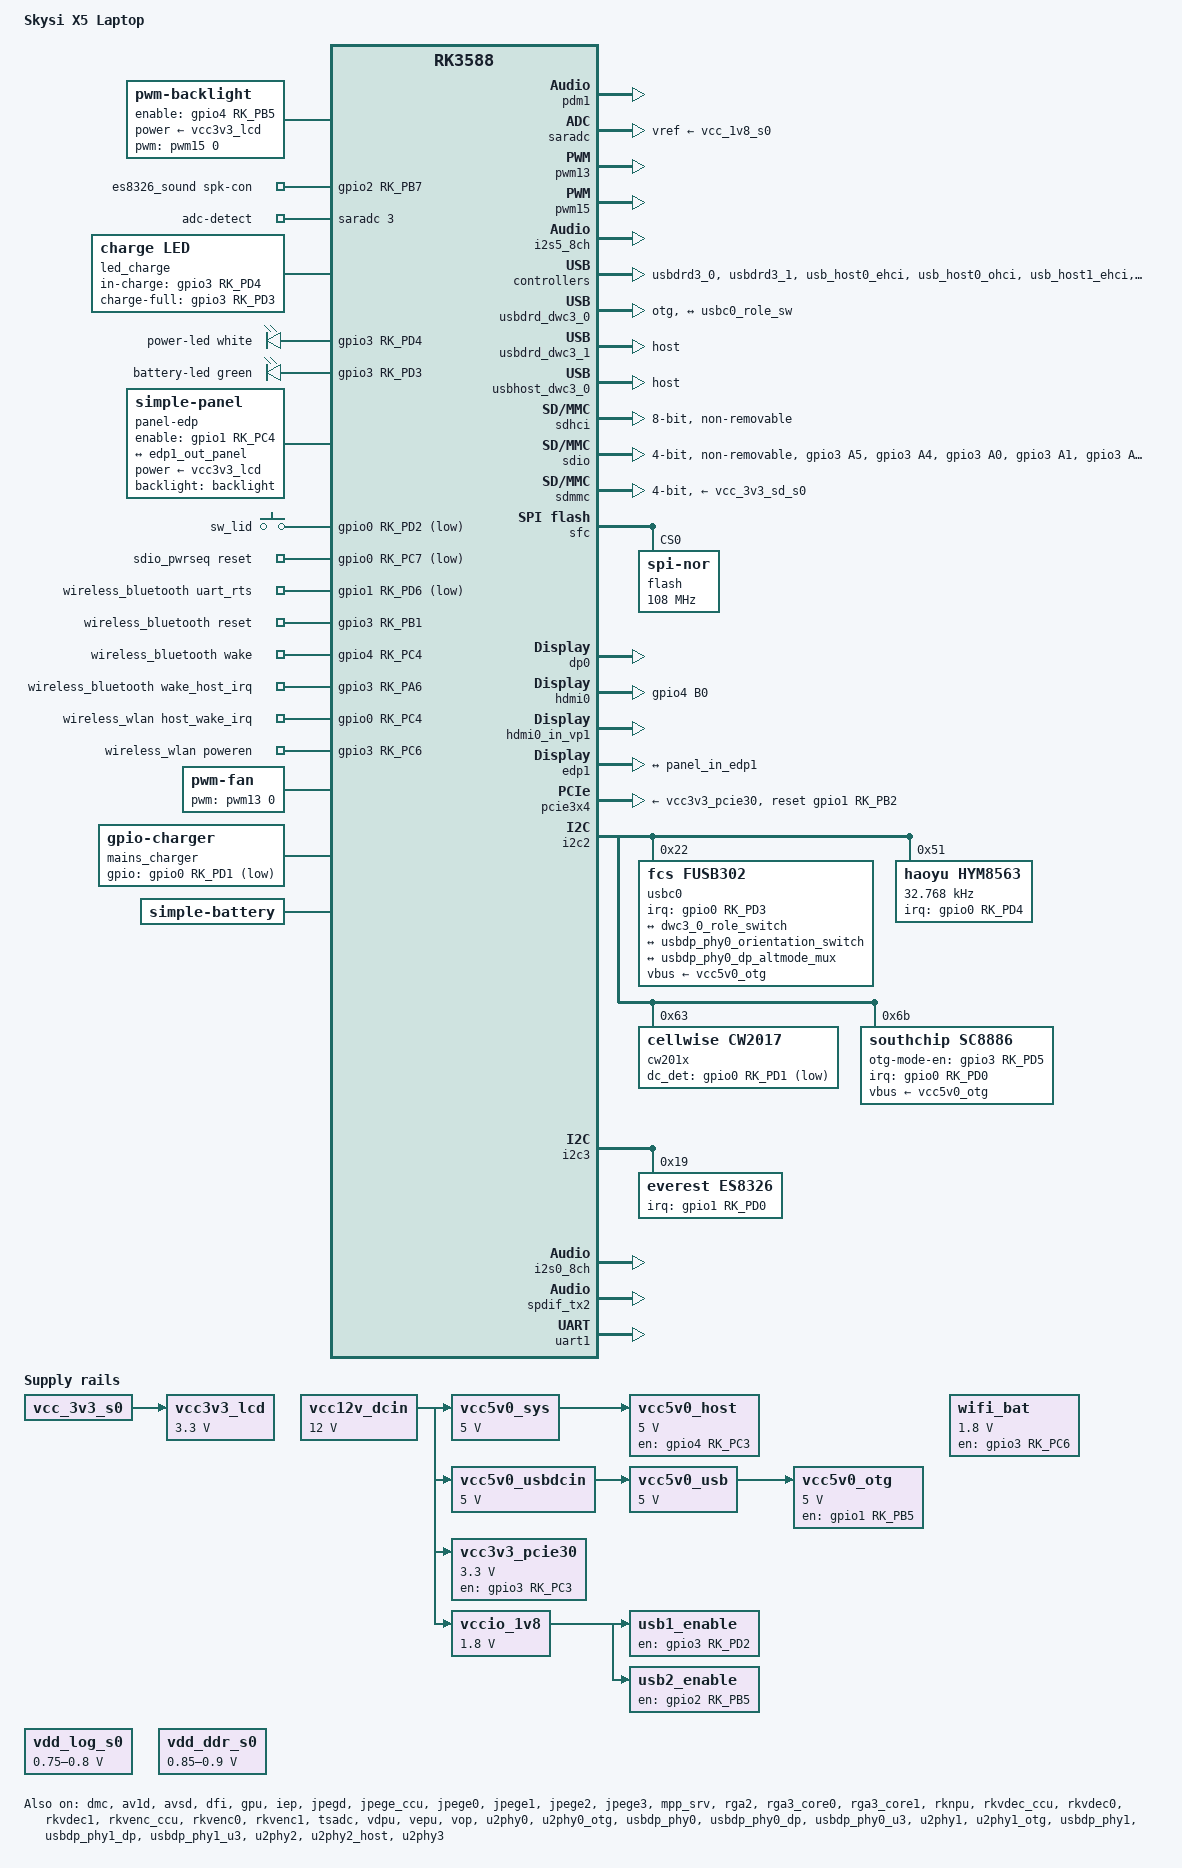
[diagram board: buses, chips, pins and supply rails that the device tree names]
// SPDX-License-Identifier: (GPL-2.0+ OR MIT)
/*
 * Copyright (c) 2021 Rockchip Electronics Co., Ltd.
 * Copyright (c) 2026 bingo1991
 */

/dts-v1/;

#include <dt-bindings/gpio/gpio.h>
#include <dt-bindings/pwm/pwm.h>
#include <dt-bindings/pinctrl/rockchip.h>
#include <dt-bindings/input/gpio-keys.h>
#include <dt-bindings/input/rk-input.h>
#include <dt-bindings/leds/common.h>
#include <dt-bindings/display/drm_mipi_dsi.h>
#include <dt-bindings/display/rockchip_vop.h>
#include <dt-bindings/sensor-dev.h>
#include <dt-bindings/usb/pd.h>
#include "rk3588.dtsi"
#include "rk3588-rk806-dual.dtsi"
#include "rk3588-linux.dtsi"

/ {
	model = "Skysi X5 Laptop";
	compatible = "gedu,yourland-codebook", "kaihong,botbook", "rockchip,rk3588";

	/delete-node/ chosen;

	backlight: backlight {
		compatible = "pwm-backlight";
		brightness-levels = <
			  0  20  20  21  21  22  22  23
			 23  24  24  25  25  26  26  27
			 27  28  28  29  29  30  30  31
			 31  32  32  33  33  34  34  35
			 35  36  36  37  37  38  38  39
			 40  41  42  43  44  45  46  47
			 48  49  50  51  52  53  54  55
			 56  57  58  59  60  61  62  63
			 64  65  66  67  68  69  70  71
			 72  73  74  75  76  77  78  79
			 80  81  82  83  84  85  86  87
			 88  89  90  91  92  93  94  95
			 96  97  98  99 100 101 102 103
			104 105 106 107 108 109 110 111
			112 113 114 115 116 117 118 119
			120 121 122 123 124 125 126 127
			128 129 130 131 132 133 134 135
			136 137 138 139 140 141 142 143
			144 145 146 147 148 149 150 151
			152 153 154 155 156 157 158 159
			160 161 162 163 164 165 166 167
			168 169 170 171 172 173 174 175
			176 177 178 179 180 181 182 183
			184 185 186 187 188 189 190 191
			192 193 194 195 196 197 198 199
			200 201 202 203 204 205 206 207
			208 209 210 211 212 213 214 215
			216 217 218 219 220 221 222 223
			224 225 226 227 228 229 230 231
			232 233 234 235 236 237 238 239
			240 241 242 243 244 245 246 247
			248 249 250 251 252 253 254 255
		>;
		default-brightness-level = <200>;
	};

	dual_mic_array: dual-mic-array {
		status = "okay";
		compatible = "simple-audio-card";
		simple-audio-card,format = "i2s";
		simple-audio-card,name = "rockchip-dmic-array";
		simple-audio-card,mclk-fs = <256>;
		simple-audio-card,dai-link@0 {
			format = "pdm";
			cpu {
				sound-dai = <&pdm1>;
			};
			codec {
				sound-dai = <&dummy_codec>;
			};
		};
	};

	dummy_codec: dummy-codec {
		compatible = "rockchip,dummy-codec";
		#sound-dai-cells = <0>;
		status = "okay";
	};

	es8326_sound: es8326-sound {
		status = "okay";
		compatible = "rockchip,multicodecs-card";
		rockchip,card-name = "rockchip-es8326";
		rockchip,format = "i2s";
		rockchip,mclk-fs = <256>;
		rockchip,cpu = <&i2s0_8ch>;
		rockchip,codec = <&es8326>;
		rockchip,audio-routing =
			"Headphone", "HPOL",
			"Headphone", "HPOR",
			"Headphone", "Headphone Power",
			"Headphone", "Headphone Power",
			"Speaker", "HPOL",
			"Speaker", "HPOR",
			"Speaker", "Speaker Power",
			"Speaker", "Speaker Power",
			"MIC1", "Headset Mic",
			"MIC2", "Main Mic";
		poll-interval = <100>;
		io-channels = <&saradc 3>;
		io-channel-names = "adc-detect";
		keyup-threshold-microvolt = <1800000>;
		pinctrl-names = "default";
		pinctrl-0 = <&spk_con>;
		spk-con-gpio = <&gpio2 RK_PB7 GPIO_ACTIVE_HIGH>;
		play-pause-key {
			label = "playpause";
			linux,code = <KEY_PLAYPAUSE>;
			press-threshold-microvolt = <2000>;
		};
	};

	rk_headset: rk-headset {
		status = "disabled";
		compatible = "rockchip_headset";
		headset_gpio = <&gpio1 RK_PD5 GPIO_ACTIVE_LOW>;
		pinctrl-names = "default";
		pinctrl-0 = <&hp_det>;
		io-channels = <&saradc 3>;
	};

	hdmi0_sound: hdmi0-sound {
		compatible = "simple-audio-card";
		simple-audio-card,format = "i2s";
		simple-audio-card,mclk-fs = <128>;
		simple-audio-card,name = "rockchip-hdmi0";

		simple-audio-card,cpu {
			sound-dai = <&i2s5_8ch>;
		};
		simple-audio-card,codec {
			sound-dai = <&hdmi0>;
		};
	};

	dp0_sound: dp0-sound {
		status = "disabled";
		compatible = "rockchip,hdmi";
		rockchip,card-name = "rockchip-dp0";
		rockchip,mclk-fs = <512>;
		rockchip,cpu = <&spdif_tx2>;
		rockchip,codec = <&dp0 1>;
		rockchip,jack-det;
	};

	led_charge: charge-control {
		status = "okay";
		compatible = "charge,led";
		in-charge-gpio = <&gpio3 RK_PD4 GPIO_ACTIVE_HIGH>;
		charge-full-gpio = <&gpio3 RK_PD3 GPIO_ACTIVE_HIGH>;
	};

	leds: leds {
		compatible = "gpio-leds";
		pinctrl-names = "default";
		pinctrl-0 =<&leds_gpio>;
		status = "okay";

		power_led {
			function = LED_FUNCTION_CHARGING;
			color = <LED_COLOR_ID_WHITE>;
			gpios = <&gpio3 RK_PD4 GPIO_ACTIVE_HIGH>;
			label = "power-led";
			linux,default-trigger = "battery-charging";
		};

		battery_led {
			function = LED_FUNCTION_STATUS;
			color = <LED_COLOR_ID_GREEN>;
			gpios = <&gpio3 RK_PD3 GPIO_ACTIVE_HIGH>;
			label = "battery-led";
			linux,default-trigger = "battery-full";
		};
	};

	panel-edp {
		compatible = "simple-panel";
		connector-type = "eDP";
		backlight = <&backlight>;
		enable-gpios = <&gpio1 RK_PC4 GPIO_ACTIVE_HIGH>;
		pinctrl-names = "default";
		pinctrl-0 = <&lcd_panel_en>;
		power-supply = <&vcc3v3_lcd>;
		prepare-delay-ms = <210>;
		enable-delay-ms = <50>;
		unprepare-delay-ms = <160>;
		disable-delay-ms = <120>;
		width-mm = <309>;
		height-mm = <174>;

		panel-timing {
			clock-frequency = <148500000>;
			hactive = <1920>;
			vactive = <1080>;
			hfront-porch = <48>;
			hsync-len = <32>;
			hback-porch = <200>;
			vfront-porch = <3>;
			vsync-len = <6>;
			vback-porch = <37>;
			hsync-active = <0>;
			vsync-active = <0>;
			de-active = <0>;
			pixelclk-active = <0>;
		};

		port {
			panel_in_edp1: endpoint {
				remote-endpoint = <&edp1_out_panel>;
			};
		};
	};

	gpio_key_lid: gpio-key-lid {
		compatible = "gpio-keys";
		pinctrl-names = "default";
		pinctrl-0 = <&sw_lid>;

		switch-lid {
			wakeup-event-action = <EV_ACT_DEASSERTED>;
			wakeup-source;
			gpios = <&gpio0 RK_PD2 GPIO_ACTIVE_LOW>;
			debounce-interval = <20>;
			label = "sw_lid";
			linux,input-type = <EV_SW>;
			linux,code = <SW_LID>;
		};
	};

	vcc12v_dcin: vcc12v-dcin {
		compatible = "regulator-fixed";
		regulator-name = "vcc12v_dcin";
		regulator-always-on;
		regulator-boot-on;
		regulator-min-microvolt = <12000000>;
		regulator-max-microvolt = <12000000>;
	};

	vcc5v0_sys: vcc5v0-sys {
		compatible = "regulator-fixed";
		regulator-name = "vcc5v0_sys";
		regulator-always-on;
		regulator-boot-on;
		regulator-min-microvolt = <5000000>;
		regulator-max-microvolt = <5000000>;
		vin-supply = <&vcc12v_dcin>;
	};

	vcc5v0_usbdcin: vcc5v0-usbdcin {
		compatible = "regulator-fixed";
		regulator-name = "vcc5v0_usbdcin";
		regulator-always-on;
		regulator-boot-on;
		regulator-min-microvolt = <5000000>;
		regulator-max-microvolt = <5000000>;
		vin-supply = <&vcc12v_dcin>;
	};

	vcc3v3_lcd: vcc3v3-lcd {
		compatible = "regulator-fixed";
		regulator-name = "vcc3v3_lcd";
		regulator-boot-on;
		regulator-min-microvolt = <3300000>;
		regulator-max-microvolt = <3300000>;
		vin-supply = <&vcc_3v3_s0>;

		regulator-state-mem {
			// Screen power off in suspend state
			regulator-off-in-suspend;
		};
	};

	vcc3v3_pcie30: vcc3v3-pcie30 {
		compatible = "regulator-fixed";
		regulator-name = "vcc3v3_pcie30";
		regulator-min-microvolt = <3300000>;
		regulator-max-microvolt = <3300000>;
		enable-active-high;
		gpios = <&gpio3 RK_PC3 GPIO_ACTIVE_HIGH>;
		startup-delay-us = <5000>;
		vin-supply = <&vcc12v_dcin>;
	};

	vccio_1v8: vccio-1v8 {
		compatible = "regulator-fixed";
		regulator-name = "vccio_1v8";
		regulator-min-microvolt = <1800000>;
		regulator-max-microvolt = <1800000>;
		regulator-always-on;
		vin-supply = <&vcc12v_dcin>;
	};

	vcc5v0_host: vcc5v0-host {
		compatible = "regulator-fixed";
		regulator-name = "vcc5v0_host";
		regulator-boot-on;
		regulator-always-on;
		regulator-min-microvolt = <5000000>;
		regulator-max-microvolt = <5000000>;
		enable-active-high;
		gpio = <&gpio4 RK_PC3 GPIO_ACTIVE_HIGH>;
		vin-supply = <&vcc5v0_sys>;
		pinctrl-names = "default";
		pinctrl-0 = <&vcc5v0_host_en>;
	};

	vcc5v0_usb: vcc5v0-usb {
		compatible = "regulator-fixed";
		regulator-name = "vcc5v0_usb";
		regulator-always-on;
		regulator-boot-on;
		regulator-min-microvolt = <5000000>;
		regulator-max-microvolt = <5000000>;
		vin-supply = <&vcc5v0_usbdcin>;
	};

	vcc5v0_otg: vcc5v0-otg {
		compatible = "regulator-fixed";
		regulator-name = "vcc5v0_otg";
		regulator-min-microvolt = <5000000>;
		regulator-max-microvolt = <5000000>;
		enable-active-high;
		gpio = <&gpio1 RK_PB5 GPIO_ACTIVE_HIGH>;
		vin-supply = <&vcc5v0_usb>;
		pinctrl-names = "default";
		pinctrl-0 = <&vcc5v0_otg_en>;
	};

	wifi_bat: wifi_bat {
		compatible = "regulator-fixed";
		regulator-name = "wifi_vbat";
		regulator-boot-on;
		regulator-always-on;
		regulator-min-microvolt = <1800000>;
		regulator-max-microvolt = <1800000>;
		gpio = <&gpio3 RK_PC6 GPIO_ACTIVE_HIGH>;
		enable-active-high;
		pinctrl-names = "default";
		pinctrl-0 = <&wifi_poweren_gpio>;
	};

	sdio_pwrseq: sdio-pwrseq {
		compatible = "mmc-pwrseq-simple";
		pinctrl-names = "default";
		pinctrl-0 = <&wifi_enable_h>;
		post-power-on-delay-ms = <200>;
		reset-gpios = <&gpio0 RK_PC7 GPIO_ACTIVE_LOW>;
	};

	// 3-WIRE(H5) HCIUART protocol bluetooth, using UART1 controller
	wireless_bluetooth: wireless-bluetooth {
		compatible = "bluetooth-platdata";
		bt_port = "/dev/ttyS1";
		clocks = <&hym8563>;
		clock-names = "ext_clock";
		//wifi-bt-power-toggle;
		uart_rts_gpios = <&gpio1 RK_PD6 GPIO_ACTIVE_LOW>;
		pinctrl-names = "default", "rts_gpio";
		pinctrl-0 = <&uart1m1_rtsn>, <&bt_reset_gpio>, <&bt_wake_gpio>, <&bt_irq_gpio>;
		pinctrl-1 = <&uart1_gpios>;
		BT,reset_gpio    = <&gpio3 RK_PB1 GPIO_ACTIVE_HIGH>;
		BT,wake_gpio     = <&gpio4 RK_PC4 GPIO_ACTIVE_HIGH>;
		BT,wake_host_irq = <&gpio3 RK_PA6 GPIO_ACTIVE_HIGH>;
		status = "okay";
	};

	wireless_wlan: wireless-wlan {
		compatible = "wlan-platdata";
		wifi_chip_type = "ap6275s";
		pinctrl-names = "default";
		pinctrl-0 = <&wifi_host_wake_irq>;
		WIFI,host_wake_irq = <&gpio0 RK_PC4 GPIO_ACTIVE_HIGH>;
		WIFI,poweren_gpio = <&gpio3 RK_PC6 GPIO_ACTIVE_HIGH>;
		status = "okay";
	};

	usb1_enable: usb1-enable {
		compatible = "regulator-fixed";
		regulator-name = "usb1_enable";
		regulator-always-on;
		regulator-boot-on;
		gpio = <&gpio3 RK_PD2 GPIO_ACTIVE_HIGH>;
		enable-active-high;
		vin-supply = <&vccio_1v8>;
	};

	usb2_enable: usb2-enable {
		compatible = "regulator-fixed";
		regulator-name = "usb2_enable";
		regulator-always-on;
		regulator-boot-on;
		gpio = <&gpio2 RK_PB5 GPIO_ACTIVE_HIGH>;
		enable-active-high;
		vin-supply = <&vccio_1v8>;
	};

	fan: pwm-fan {
		compatible = "pwm-fan";
		cooling-min-state = <0>;
		cooling-max-state = <3>;
		#cooling-cells = <2>;
		pwms = <&pwm13 0 3000000 1>;
		cooling-levels = <0 128 192 255>;
	};

	mains_charger: dc-charger {
		status = "okay";
		compatible = "gpio-charger";
		charger-type = "mains";
		gpios = <&gpio0 RK_PD1 GPIO_ACTIVE_LOW>;

		/* Also triggered by USB charger */
		pinctrl-names = "default";
		pinctrl-0 = <&dc_det>;
	};

	bat: battery {
		compatible = "simple-battery";
		charge-full-design-microamp-hours = <6000000>;
		voltage-max-design-microvolt = <8700000>;
		voltage-min-design-microvolt = <7600000>;
	};

	charge-animation {
		compatible = "rockchip,uboot-charge";
		rockchip,uboot-charge-on = <0x01>;
		rockchip,android-charge-on = <0x00>;
		rockchip,uboot-low-power-voltage = <7100>;
		rockchip,screen-on-voltage = <7120>;
		rockchip,uboot-exit-charge-voltage = <7150>;
		rockchip,uboot-exit-charge-auto = <0>;
		rockchip,system-suspend = <0>;
		rockchip,auto-off-screen-interval = <10>;
		regulator-on-in-mem = <&vdd_log_s0>, <&vcc_2v0_pldo_s3>,
			<&vdd2_ddr_s3>, <&vcc_1v1_nldo_s3>,
			<&vdd1_1v8_ddr_s3>, <&vccio_1v8_s3>,
			<&vdd_0v75_s3>, <&vdd1_1v8_ddr_s3>,
			<&vdd_1v8_pll_s0>, <&pldo6_s3>;
		regulator-off-in-mem = <&vdd_gpu_s0>, <&vdd_npu_s0>,
			<&vdd_vdenc_s0>, <&vdd_gpu_mem_s0>, <&vdd_npu_mem_s0>,
			<&vdd_vdenc_mem_s0>, <&avcc_1v8_s0>, <&vcc_3v3_s0>,
			<&vccio_sd_s0>, <&vdd_0v75_hdmi_edp_s0>, <&avdd_0v75_s0>,
			<&vdd_0v85_s0>, <&vdd_cpu_big1_s0>, <&vdd_cpu_big0_s0>,
			<&vdd_cpu_lit_s0>, <&vdd_cpu_big1_mem_s0>, <&vdd_cpu_big0_mem_s0>,
			<&vcc_1v8_s0>, <&vdd_cpu_lit_mem_s0>, <&vddq_ddr_s0>,
			<&vdd_ddr_s0>, <&vcc_1v8_cam_s0>, <&avdd1v8_ddr_pll_s0>,
			<&vcc_3v3_sd_s0>, <&vcc_2v8_cam_s0>, <&vdd_0v75_pll_s0>,
			<&vdd_ddr_pll_s0>, <&avdd_0v85_s0>, <&avdd_1v2_cam_s0>,
			<&avdd_1v2_s0>, <&vcc_3v3_s3>;
		status = "okay";
	};
};

&backlight {
	status = "okay";
	pwms = <&pwm15 0 25000 0>;
	enable-gpios = <&gpio4 RK_PB5 GPIO_ACTIVE_HIGH>;
	pinctrl-names = "default";
	pinctrl-0 = <&lcd_backlight_en>;
	power-supply = <&vcc3v3_lcd>;
};

&vdd_log_s0 {
	regulator-min-microvolt = <750000>;
	regulator-max-microvolt = <800000>;
};

&vdd_ddr_s0 {
	regulator-min-microvolt = <850000>;
	regulator-max-microvolt = <900000>;
};

&dmc {
	status = "okay";
	center-supply = <&vdd_ddr_s0>;
	mem-supply = <&vdd_log_s0>;
	rockchip,dmc-min-freq = <1560000000>;
	rockchip,dmc-max-freq = <2112000000>;
};

&pdm1{
	pinctrl-names = "default";
	pinctrl-0 = <&pdm1m1_clk &pdm1m1_sdi0>;
	pinctrl-1 = <&pdm1m1_idle>;
	pinctrl-2 = <&pdm1m1_clk &pdm1m1_clk1>;
	status = "okay";
};

&vcc_3v3_s0 {
	regulator-always-on;
	regulator-boot-on;
	regulator-state-mem {
		regulator-off-in-suspend;
		regulator-on-in-suspend;
		regulator-suspend-microvolt = <3300000>;
	};
};

&vcc_1v8_s0 {
	regulator-always-on;
	regulator-boot-on;
	regulator-state-mem {
		regulator-off-in-suspend;
		regulator-on-in-suspend;
		regulator-suspend-microvolt = <1800000>;
	};
};

&av1d {
	status = "okay";
};

&av1d_mmu {
	status = "okay";
};

&avsd {
	status = "okay";
};

&cpu_b0 {
	cpu-supply = <&vdd_cpu_big0_s0>;
	mem-supply = <&vdd_cpu_big0_mem_s0>;
};

&cpu_b2 {
	cpu-supply = <&vdd_cpu_big1_s0>;
	mem-supply = <&vdd_cpu_big1_mem_s0>;
};

&cpu_l0 {
	cpu-supply = <&vdd_cpu_lit_s0>;
	mem-supply = <&vdd_cpu_lit_mem_s0>;
};

&dfi {
	status = "okay";
};

&dmc {
	center-supply = <&vdd_ddr_s0>;
	mem-supply = <&vdd_log_s0>;
	status = "okay";
};

&gpu {
	mali-supply = <&vdd_gpu_s0>;
	mem-supply = <&vdd_gpu_mem_s0>;
	status = "okay";
};

&iep {
	status = "okay";
};

&iep_mmu {
	status = "okay";
};

&jpegd {
	status = "okay";
};

&jpegd_mmu {
	status = "okay";
};

&jpege_ccu {
	status = "okay";
};

&jpege0 {
	status = "okay";
};

&jpege0_mmu {
	status = "okay";
};

&jpege1 {
	status = "okay";
};

&jpege1_mmu {
	status = "okay";
};

&jpege2 {
	status = "okay";
};

&jpege2_mmu {
	status = "okay";
};

&jpege3 {
	status = "okay";
};

&jpege3_mmu {
	status = "okay";
};

&mpp_srv {
	status = "okay";
};

&rga2 {
	status = "okay";
};

&rga3_core0 {
	status = "okay";
};

&rga3_0_mmu {
	status = "okay";
};

&rga3_core1 {
	status = "okay";
};

&rga3_1_mmu {
	status = "okay";
};

&rknpu {
	rknpu-supply = <&vdd_npu_s0>;
	mem-supply = <&vdd_npu_mem_s0>;
	status = "okay";
};

&rknpu_mmu {
	status = "okay";
};

&rkvdec_ccu {
	status = "okay";
};

&rkvdec0 {
	status = "okay";
};

&rkvdec0_mmu {
	status = "okay";
};

&rkvdec1 {
	status = "okay";
};

&rkvdec1_mmu {
	status = "okay";
};

&rkvenc_ccu {
	status = "okay";
};

&rkvenc0 {
	venc-supply = <&vdd_vdenc_s0>;
	mem-supply = <&vdd_vdenc_mem_s0>;
	status = "okay";
};

&rkvenc0_mmu {
	status = "okay";
};

&rkvenc1 {
	venc-supply = <&vdd_vdenc_s0>;
	mem-supply = <&vdd_vdenc_mem_s0>;
	status = "okay";
};

&rkvenc1_mmu {
	status = "okay";
};

&saradc {
	status = "okay";
	vref-supply = <&vcc_1v8_s0>;
};

&tsadc {
	status = "okay";
};

&vdpu {
	status = "okay";
};

&vdpu_mmu {
	status = "okay";
};

&vepu {
	status = "okay";
};

&vop {
	disable-win-move;
	assigned-clocks = <&cru DCLK_VOP0_SRC>,
			  <&cru DCLK_VOP1_SRC>,
			  <&cru DCLK_VOP2_SRC>,
			  <&cru DCLK_VOP3>;
	assigned-clock-parents = <0>, <0>, <&cru PLL_V0PLL>, <0>;
	vop-supply = <&vdd_log_s0>;
	status = "okay";
};

&vop_mmu {
	status = "okay";
};

/* PWM Fan Control */
&pwm13 {
	pinctrl-names = "active";
	pinctrl-0 = <&pwm13m1_pins>;
	status = "okay";
};

/* Backlight */
&pwm15 {
	pinctrl-names = "active";
	pinctrl-0 = <&pwm15m1_pins>;
	status = "okay";
};

&i2s5_8ch {
	status = "okay";
};

&rockchip_suspend {
	status = "okay";
	rockchip,sleep-debug-en = <1>;
};

/* USB 2.0 PHY0 */
&u2phy0 {
	status = "okay";
};

&u2phy0_otg {
	rockchip,typec-vbus-det;
	status = "okay";
};

/* USB 3.0 & DP PHY0 */
&usbdp_phy0 {
	orientation-switch;
	svid = <0xff01>;
	sbu1-dc-gpios = <&gpio4 RK_PA6 GPIO_ACTIVE_HIGH>;
	sbu2-dc-gpios = <&gpio4 RK_PA7 GPIO_ACTIVE_HIGH>;
	rockchip,dp-lane-mux = <0 1 2 3>;
	status = "okay";
	port {
		#address-cells = <1>;
		#size-cells = <0>;

		usbdp_phy0_orientation_switch: endpoint@0 {
			reg = <0>;
			remote-endpoint = <&usbc0_orien_sw>;
		};

		usbdp_phy0_dp_altmode_mux: endpoint@1 {
			reg = <1>;
			remote-endpoint = <&dp_altmode_mux>;
		};
	};
};

&usbdp_phy0_dp {
	status = "okay";
};

&usbdp_phy0_u3 {
	status = "okay";
};

/* USB OTG Controller 0, Left USB 3.0 Type-C */
&usbdrd3_0 {
	status = "okay";
};

&usbdrd_dwc3_0 {
	dr_mode = "otg";
	usb-role-switch;
	extcon = <&u2phy0>;
	status = "okay";
	port {
		#address-cells = <1>;
		#size-cells = <0>;
		dwc3_0_role_switch: endpoint@0 {
			reg = <0>;
			remote-endpoint = <&usbc0_role_sw>;
		};
	};
};

/* USB 2.0 PHY1 */
&u2phy1 {
	status = "okay";
};

&u2phy1_otg {
	status = "okay";
};

/* USB 3.0 & DP PHY1 */
&usbdp_phy1 {
	status = "okay";
};

&usbdp_phy1_dp {
	status = "okay";
};

&usbdp_phy1_u3 {
	status = "okay";
};

/* USB OTG Controller 0, Left USB 3.0 Type-A */
&usbdrd3_1 {
	status = "okay";
};

&usbdrd_dwc3_1 {
	dr_mode = "host";
	status = "okay";
};

/* USB 2.0 PHY2 for HOST 0 */
&u2phy2 {
	status = "okay";
};

&u2phy2_host {
	phy-supply = <&vcc5v0_host>;
	status = "okay";
};

/* USB 2.0 Controller for HOST 0, USB Camera */
&usb_host0_ehci {
	status = "okay";
};

&usb_host0_ohci {
	status = "okay";
};

/* USB 2.0 PHY3 for HOST 1 */
&u2phy3 {
	status = "okay";
};

&u2phy3_host {
	phy-supply = <&vcc5v0_host>;
	status = "okay";
};

/* USB 2.0 Controller for HOST 1, USB Keyboard, Right dual USB 2.0 Type-A  */
&usb_host1_ehci {
	status = "okay";
};

&usb_host1_ohci {
	status = "okay";
};

/* pcie2x1l1/sata2/usbhost_dwc3_0 Combo PHY */
&combphy2_psu {
	status = "okay";
};

/* USB 3.0 Controller for HOST 2 */
&usbhost3_0 {
	status = "okay";
};

&usbhost_dwc3_0 {
	dr_mode = "host";
	status = "okay";
};

/* EMMC */
&sdhci {
	bus-width = <8>;
	no-sdio;
	no-sd;
	non-removable;
	max-frequency = <200000000>;
	mmc-hs400-1_8v;
	//mmc-hs400-enhanced-strobe;
	status = "okay";
};

/* WiFi&BT */
&sdio {
	max-frequency = <150000000>;
	pinctrl-names = "default";
	pinctrl-0 = <&sdio_pins>;
	no-sd;
	no-mmc;
	bus-width = <4>;
	disable-wp;
	cap-sd-highspeed;
	cap-sdio-irq;
	keep-power-in-suspend;
	mmc-pwrseq = <&sdio_pwrseq>;
	non-removable;

	sd-uhs-sdr104;
	status = "okay";
};

/* TF Card */
&sdmmc {
	max-frequency = <150000000>;
	no-sdio;
	no-mmc;
	bus-width = <4>;
	cap-mmc-highspeed;
	cap-sd-highspeed;
	disable-wp;
	sd-uhs-sdr104;
	vmmc-supply = <&vcc_3v3_sd_s0>;
	vqmmc-supply = <&vccio_sd_s0>;
	pinctrl-names = "default";
	pinctrl-0 = <&sdmmc_bus4 &sdmmc_clk &sdmmc_cmd &sdmmc_det>;
	status = "okay";
};

/* 8MB SPI Flash */
&sfc {
	status = "okay";
	#address-cells = <1>;
	#size-cells = <0>;

	flash@0 {
		compatible = "jedec,spi-nor";
		reg = <0>;
		spi-max-frequency = <108000000>;
		spi-rx-bus-width = <2>;
		spi-tx-bus-width = <2>;
	};
};

&route_dp0 {
	status = "okay";
	logo,uboot = "logo.bmp";
	logo,kernel = "logo_kernel.bmp";
	logo,mode = "center";
	charge_logo,mode = "center";
	connect = <&vp0_out_dp0>;
};

&route_hdmi0 {
	status = "okay";
	logo,uboot = "logo.bmp";
	logo,kernel = "logo_kernel.bmp";
	logo,mode = "center";
	charge_logo,mode = "center";
	connect = <&vp1_out_hdmi0>;
};

&route_edp1 {
	status = "okay";
	logo,uboot = "logo.bmp";
	logo,kernel = "logo_kernel.bmp";
	logo,mode = "center";
	charge_logo,mode = "center";
	connect = <&vp2_out_edp1>;
};

&dp0 {
	status = "okay";
};

&dp0_in_vp0 {
	status = "okay";
};

&dp0_sound {
	status = "okay";
};

&hdmi0 {
	enable-gpios = <&gpio4 RK_PB0 GPIO_ACTIVE_HIGH>;
	pinctrl-names = "default";
	pinctrl-0 = <&hdmi_hpd_en>;
	status = "okay";
};

&hdmi0_in_vp1 {
	status = "okay";
};

/* HDMI0/eDP0 Combo PHY */
&hdptxphy0 {
	status = "disabled";
};

&hdptxphy_hdmi0 {
	status = "okay";
};

&hdmi0_sound {
	status = "okay";
};

&edp1 {
	// Force eDP out, hotplug not supported, hpd-gpios is not necessary
	force-hpd;
	status = "okay";

	ports {
		port@1 {
			reg = <1>;
			edp1_out_panel: endpoint {
				remote-endpoint = <&panel_in_edp1>;
			};
		};
	};
};

&edp1_in_vp2 {
	status = "okay";
};

/* HDMI1/eDP1 Combo PHY */
&hdptxphy1 {
	status = "okay";
};

&hdptxphy_hdmi1 {
	status = "disabled";
};

&rng {
	status = "okay";
};

/* PCIe 3.0 x4 NVme SSD */
&pcie3x4 {
	reset-gpios = <&gpio1 RK_PB2 GPIO_ACTIVE_HIGH>;
	vpcie3v3-supply = <&vcc3v3_pcie30>;
	status = "okay";
};

&pcie30phy {
	rockchip,pcie30-phymode = <PHY_MODE_PCIE_AGGREGATION>;
	status = "okay";
};

/* vp0 & vp1 splice for 8K output */
&vp0 {
	rockchip,plane-mask = <(1 << ROCKCHIP_VOP2_CLUSTER0 | 1 << ROCKCHIP_VOP2_ESMART0)>;
	rockchip,primary-plane = <ROCKCHIP_VOP2_ESMART0>;
};

&vp1 {
	rockchip,plane-mask = <(1 << ROCKCHIP_VOP2_CLUSTER1 | 1 << ROCKCHIP_VOP2_ESMART1)>;
	rockchip,primary-plane = <ROCKCHIP_VOP2_ESMART1>;
};

&vp2 {
	rockchip,plane-mask = <(1 << ROCKCHIP_VOP2_CLUSTER2 | 1 << ROCKCHIP_VOP2_ESMART2)>;
	rockchip,primary-plane = <ROCKCHIP_VOP2_ESMART2>;
};

&vp3 {
	rockchip,plane-mask = <(1 << ROCKCHIP_VOP2_CLUSTER3 | 1 << ROCKCHIP_VOP2_ESMART3)>;
	rockchip,primary-plane = <ROCKCHIP_VOP2_ESMART3>;
};

&i2c2 {
	status = "okay";
	i2c-scl-rising-time-ns = <600>;
	i2c-scl-falling-time-ns = <20>;

	usbc0: fusb302@22 {
		compatible = "fcs,fusb302";
		reg = <0x22>;
		interrupt-parent = <&gpio0>;
		interrupts = <RK_PD3 IRQ_TYPE_LEVEL_LOW>;
		pinctrl-names = "default";
		pinctrl-0 = <&usbc0_int>;
		vbus-supply = <&vcc5v0_otg>;
		extcon = <&u2phy0>;
		usb-role-switch;
		status = "okay";

		ports {
			#address-cells = <1>;
			#size-cells = <0>;

			port@0 {
				reg = <0>;
				usbc0_role_sw: endpoint@0 {
					remote-endpoint = <&dwc3_0_role_switch>;
				};
			};
		};

		usb_con: connector {
			compatible = "usb-c-connector";
			label = "USB-C";
			data-role = "dual";
			power-role = "dual";
			try-power-role = "sink";
			op-sink-microwatt = <1000000>;
			sink-pdos =
				<PDO_FIXED(5000, 1000, PDO_FIXED_USB_COMM)
				 PDO_FIXED(15000, 3000, PDO_FIXED_USB_COMM)>;
			source-pdos =
				<PDO_FIXED(5000, 3000, PDO_FIXED_USB_COMM)>;

			altmodes {
				#address-cells = <1>;
				#size-cells = <0>;

				altmode@0 {
					reg = <0>;
					svid = <0xff01>;
					vdo = <0xffffffff>;
				};
			};

			ports {
				#address-cells = <1>;
				#size-cells = <0>;

				port@0 {
					reg = <0>;
					usbc0_orien_sw: endpoint {
						remote-endpoint = <&usbdp_phy0_orientation_switch>;
					};
				};

				port@1 {
					reg = <1>;
					dp_altmode_mux: endpoint {
						remote-endpoint = <&usbdp_phy0_dp_altmode_mux>;
					};
				};
			};
		};
	};

	hym8563: hym8563@51 {
		compatible = "haoyu,hym8563";
		reg = <0x51>;
		#clock-cells = <0>;
		clock-frequency = <32768>;
		clock-output-names = "hym8563";
		pinctrl-names = "default";
		pinctrl-0 = <&hym8563_int>;
		interrupt-parent = <&gpio0>;
		interrupts = <RK_PD4 IRQ_TYPE_LEVEL_LOW>;
	};

	cw201x: cw201x@63 {
		status = "okay";
		compatible = "cellwise,cw2017", "cw201x";
		reg = <0x63>;
		cellwise,battery-profile = <
			0x32000000 0x00000000 0xa2bfc9f0 0xacb19755 0x42ffffff
			0xe0b39080 0x604a2480 0xacd995d3 0xd1cfcfcc 0xc9abee99
			0xbab7bb9f 0x8c817468 0x5b5d6f8a 0xa08f573d 0x00009002
			0x00000000 0x00006400 0x00000000 0x00000000 0x00000079
		>;
		cellwise,dual-cell;
		cellwise,debug;
		dc_det_gpio = <&gpio0 RK_PD1 GPIO_ACTIVE_LOW>;
		cellwise,monitor-interval-ms = <3000>;
		cellwise,design-capacity-amh = <6000>;
		power-supplies = <&sc8886>;
		monitored-battery = <&bat>;
	};

	sc8886: sc8886@6b {
		compatible = "southchip,sc8886", "ti,bq25703";
		reg = <0x6b>;

		interrupt-parent = <&gpio0>;
		interrupts = <RK_PD0 IRQ_TYPE_LEVEL_LOW>;
		otg-mode-en-gpio = <&gpio3 RK_PD5 GPIO_ACTIVE_HIGH>;
		pinctrl-names = "default";
		pinctrl-0 = <&charger_ok>;
		vbus-supply = <&vcc5v0_otg>;
		extcon = <&u2phy0>;

		ti,usb-charger-detection = <&usbc0>;
		ti,charge-current = <2500000>;
		ti,max-input-voltage = <12000000>;
		ti,max-input-current = <6000000>;
		ti,max-charge-voltage = <8700000>;
		ti,input-current = <2000000>;
		ti,input-current-sdp = <1000000>;
		ti,input-current-dcp = <2000000>;
		ti,input-current-cdp = <2000000>;
		ti,minimum-sys-voltage = <7200000>;
		ti,otg-voltage = <5000000>;
		ti,otg-current = <2000000>;
		pd-charge-only = <0>;
		power-supplies = <&mains_charger>,<&usbc0>;
		status = "okay";
	};
};

&i2c3 {
	status = "okay";

	es8326: es8326@19 {
		status = "okay";
		#sound-dai-cells = <0>;
		compatible = "everest,es8326";
		reg = <0x19>;
		clocks = <&mclkout_i2s0>;
		clock-names = "mclk";
		assigned-clocks = <&mclkout_i2s0>;
		assigned-clock-rates = <12288000>;
		pinctrl-names = "default";
		pinctrl-0 = <&i2s0_mclk &hp_det>;
		extcon = <&rk_headset>;
		interrupt-parent = <&gpio1>;
		interrupts = <RK_PD0 IRQ_TYPE_EDGE_RISING>;
	};
};

&i2s0_8ch {
	pinctrl-names = "default";
	pinctrl-0 = <&i2s0_lrck &i2s0_sclk &i2s0_sdi0 &i2s0_sdo0 &i2s0_sdi2 &i2s0_sdo0>;
	status = "okay";
};

&spdif_tx2 {
	status = "okay";
};

&i2s5_8ch {
	status = "okay";
};

&uart1 {
	pinctrl-names = "default";
	pinctrl-0 = <&uart1m1_xfer &uart1m1_ctsn>;
	status = "okay";
};

&pinctrl {
	gpio-leds {
		leds_gpio: leds-gpio {
			rockchip,pins = <3 RK_PC1 RK_FUNC_GPIO &pcfg_output_high>,
					<3 RK_PD4 RK_FUNC_GPIO &pcfg_output_high>,
					<3 RK_PD3 RK_FUNC_GPIO &pcfg_output_high>;
		};
	};

	display {
		lcd_backlight_en: lcd-backlight-en {
			rockchip,pins = <4 RK_PB5 RK_FUNC_GPIO &pcfg_pull_none>;
		};

		lcd_panel_en: lcd-panel-en {
			rockchip,pins = <1 RK_PC4 RK_FUNC_GPIO &pcfg_pull_none>;
		};

		hdmi_hpd_en: hdmi-hpd-en {
			rockchip,pins = <4 RK_PB0 RK_FUNC_GPIO &pcfg_pull_none>;
		};
	};

	hym8563 {
		hym8563_int: hym8563-int {
			rockchip,pins = <0 RK_PD4 RK_FUNC_GPIO &pcfg_pull_up>;
		};
	};

	keys {
		sw_lid: sw-lid {
			rockchip,pins = <0 RK_PD2 RK_FUNC_GPIO &pcfg_pull_up>;
		};
	};

	sc8886 {
		dc_det: dc-det {
			rockchip,pins = <0 RK_PD1 RK_FUNC_GPIO &pcfg_pull_up>;
		};

		charger_ok: charger-ok {
			rockchip,pins = <0 RK_PD0 RK_FUNC_GPIO &pcfg_pull_up>;
		};
	};

	sdio-pwrseq {
		wifi_enable_h: wifi-enable-h {
			rockchip,pins = <0 RK_PC7 RK_FUNC_GPIO &pcfg_pull_none>;
		};
	};

	sdio-wifi {
		sdio_pins: sdio-pins {
			rockchip,pins = <3 RK_PA5 2 &pcfg_pull_up_drv_level_2>,
					<3 RK_PA4 2 &pcfg_pull_up_drv_level_2>,
					<3 RK_PA0 2 &pcfg_pull_up_drv_level_2>,
					<3 RK_PA1 2 &pcfg_pull_up_drv_level_2>,
					<3 RK_PA2 2 &pcfg_pull_up_drv_level_2>,
					<3 RK_PA3 2 &pcfg_pull_up_drv_level_2>;
		};
	};

	usb {
		vcc5v0_host_en: vcc5v0-host-en {
		rockchip,pins = <4 RK_PC3 RK_FUNC_GPIO &pcfg_pull_none>,
				<2 RK_PB6 RK_FUNC_GPIO &pcfg_output_high>,
				<3 RK_PC0 RK_FUNC_GPIO &pcfg_output_high>;
		};
	};

	usb-typec {
		usbc0_int: usbc0-int {
			rockchip,pins = <0 RK_PD3 RK_FUNC_GPIO &pcfg_pull_up>;
		};

		vcc5v0_otg_en: vcc5v0-otg-en {
			rockchip,pins = <1 RK_PB5 RK_FUNC_GPIO &pcfg_pull_none>;
		};
	};

	wireless-bluetooth {
		uart1_gpios: uart1-gpios {
			rockchip,pins = <1 RK_PD6 RK_FUNC_GPIO &pcfg_pull_none>;
		};

		bt_reset_gpio: bt-reset-gpio {
			rockchip,pins = <3 RK_PB1 RK_FUNC_GPIO &pcfg_pull_none>;
		};

		bt_wake_gpio: bt-wake-gpio {
			rockchip,pins = <4 RK_PC4 RK_FUNC_GPIO &pcfg_pull_none>;
		};

		bt_irq_gpio: bt-irq-gpio {
			rockchip,pins = <3 RK_PA6 RK_FUNC_GPIO &pcfg_pull_down>;
		};
	};

	wireless-wlan {
		wifi_host_wake_irq: wifi-host-wake-irq {
			rockchip,pins = <0 RK_PC4 RK_FUNC_GPIO &pcfg_pull_down>;
		};

		wifi_poweren_gpio: wifi-poweren-gpio {
			rockchip,pins = <3 RK_PC6 RK_FUNC_GPIO &pcfg_pull_up>;
		};
	};

	es8326 {
		spk_con: spk-con {
			rockchip,pins = <2 RK_PB7 RK_FUNC_GPIO &pcfg_pull_down>;
		};

		hp_det: hp-det {
			rockchip,pins = <1 RK_PD0 RK_FUNC_GPIO &pcfg_pull_down>;
		};
	};
};
